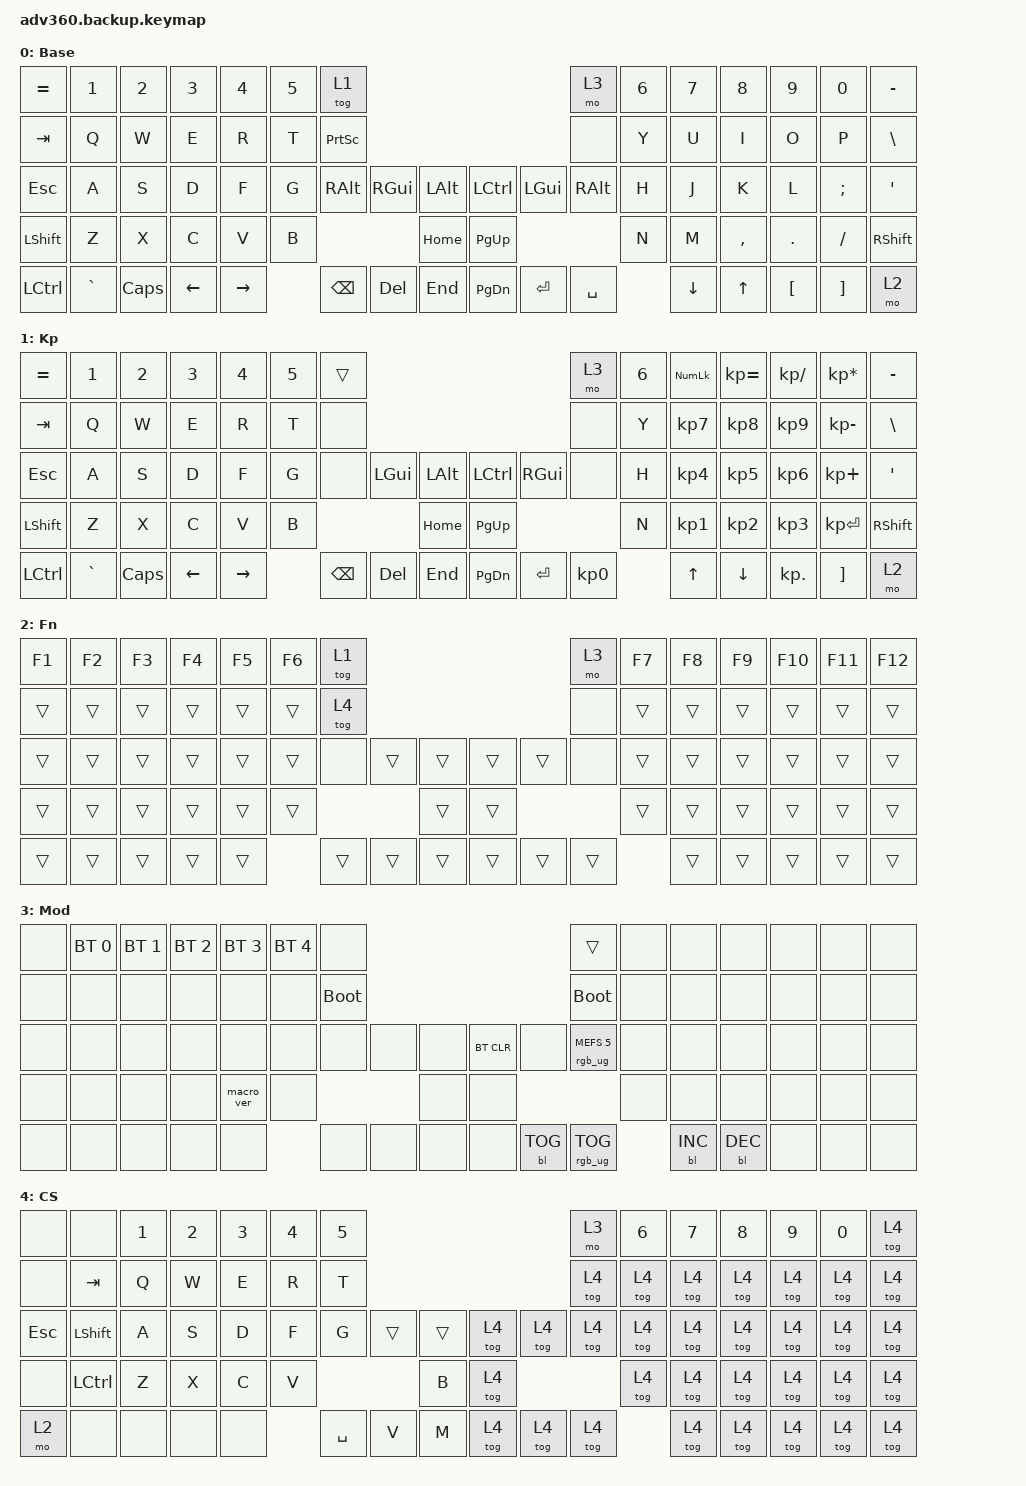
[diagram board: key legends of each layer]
#include <behaviors.dtsi>
#include <dt-bindings/zmk/keys.h>
#include <dt-bindings/zmk/bt.h>
#include <dt-bindings/zmk/rgb.h>
#include <dt-bindings/zmk/stp.h>
#include <dt-bindings/zmk/backlight.h>
#include <dt-bindings/zmk/pointing.h>

/ {
    behaviors {
        #include "macros.dtsi"
    #include "version.dtsi"

        hm: homerow_mods {
            compatible = "zmk,behavior-hold-tap";
            label = "HOMEROW_MODS";
            #binding-cells = <2>;
            tapping-term-ms = <200>;
            quick_tap_ms = <175>;
            flavor = "tap-preferred";
            bindings = <&kp>, <&kp>;
        };
    };

    keymap {
        compatible = "zmk,keymap";

        default_layer {
            display-name = "Base";
            bindings = <
&kp EQUAL         &kp N1     &kp N2    &kp N3    &kp N4     &kp N5  &tog 1                                                                        &mo 3      &kp N6  &kp N7    &kp N8     &kp N9    &kp N0    &kp MINUS
&kp TAB           &kp Q      &kp W     &kp E     &kp R      &kp T   &kp PRINTSCREEN                                                               &none      &kp Y   &kp U     &kp I      &kp O     &kp P     &kp BSLH
&kp ESC           &kp A      &kp S     &kp D     &kp F      &kp G   &kp RALT         &kp RIGHT_GUI  &kp LALT      &kp LEFT_CONTROL  &kp LEFT_GUI  &kp RALT   &kp H   &kp J     &kp K      &kp L     &kp SEMI  &kp SQT
&kp LSHFT         &kp Z      &kp X     &kp C     &kp V      &kp B                                   &kp HOME      &kp PG_UP                                  &kp N   &kp M     &kp COMMA  &kp DOT   &kp FSLH  &kp RSHFT
&kp LEFT_CONTROL  &kp GRAVE  &kp CAPS  &kp LEFT  &kp RIGHT          &kp BSPC         &kp DEL        &kp END       &kp PG_DN         &kp ENTER     &kp SPACE          &kp DOWN  &kp UP     &kp LBKT  &kp RBKT  &mo 2
            >;
        };

        layer_keypad {
            display-name = "Kp";
            bindings = <
&kp EQUAL         &kp N1     &kp N2    &kp N3    &kp N4     &kp N5  &trans                                                                 &mo 3      &kp N6  &kp KP_NUM  &kp KP_EQUAL  &kp KP_DIVIDE  &kp KP_MULTIPLY  &kp MINUS
&kp TAB           &kp Q      &kp W     &kp E     &kp R      &kp T   &none                                                                  &none      &kp Y   &kp KP_N7   &kp KP_N8     &kp KP_N9      &kp KP_MINUS     &kp BSLH
&kp ESC           &kp A      &kp S     &kp D     &kp F      &kp G   &none     &kp LEFT_GUI  &kp LALT      &kp LEFT_CONTROL  &kp RIGHT_GUI  &none      &kp H   &kp KP_N4   &kp KP_N5     &kp KP_N6      &kp KP_PLUS      &kp SQT
&kp LSHFT         &kp Z      &kp X     &kp C     &kp V      &kp B                           &kp HOME      &kp PG_UP                                   &kp N   &kp KP_N1   &kp KP_N2     &kp KP_N3      &kp KP_ENTER     &kp RSHFT
&kp LEFT_CONTROL  &kp GRAVE  &kp CAPS  &kp LEFT  &kp RIGHT          &kp BSPC  &kp DEL       &kp END       &kp PG_DN         &kp ENTER      &kp KP_N0          &kp UP      &kp DOWN      &kp KP_DOT     &kp RBKT         &mo 2
            >;
        };

        layer_fn {
            display-name = "Fn";
            bindings = <
&kp F1  &kp F2  &kp F3  &kp F4  &kp F5  &kp F6  &tog 1                                      &mo 3   &kp F7  &kp F8  &kp F9  &kp F10  &kp F11  &kp F12
&trans  &trans  &trans  &trans  &trans  &trans  &tog 4                                      &none   &trans  &trans  &trans  &trans   &trans   &trans
&trans  &trans  &trans  &trans  &trans  &trans  &none   &trans  &trans      &trans  &trans  &none   &trans  &trans  &trans  &trans   &trans   &trans
&trans  &trans  &trans  &trans  &trans  &trans                  &trans      &trans                  &trans  &trans  &trans  &trans   &trans   &trans
&trans  &trans  &trans  &trans  &trans          &trans  &trans  &trans      &trans  &trans  &trans          &trans  &trans  &trans   &trans   &trans
            >;
        };

        layer_mod {
            display-name = "Mod";
            bindings = <
&none  &bt BT_SEL 0  &bt BT_SEL 1  &bt BT_SEL 2  &bt BT_SEL 3  &bt BT_SEL 4  &none                                                  &trans                  &none  &none       &none       &none  &none  &none
&none  &none         &none         &none         &none         &none         &bootloader                                            &bootloader             &none  &none       &none       &none  &none  &none
&none  &none         &none         &none         &none         &none         &none        &none  &none      &bt BT_CLR  &none       &rgb_ug RGB_MEFS_CMD 5  &none  &none       &none       &none  &none  &none
&none  &none         &none         &none         &macro_ver    &none                             &none      &none                                           &none  &none       &none       &none  &none  &none
&none  &none         &none         &none         &none                       &none        &none  &none      &none       &bl BL_TOG  &rgb_ug RGB_TOG                &bl BL_INC  &bl BL_DEC  &none  &none  &none
            >;
        };

        layer_CS {
            display-name = "CS";
            bindings = <
&none    &none             &kp NUMBER_1  &kp NUMBER_2  &kp NUMBER_3  &kp NUMBER_4  &kp NUMBER_5                                      &mo 3   &kp NUMBER_6  &kp NUMBER_7  &kp NUMBER_8  &kp NUMBER_9  &kp NUMBER_0  &tog 4
&none    &kp TAB           &kp Q         &kp W         &kp E         &kp R         &kp T                                             &tog 4  &tog 4        &tog 4        &tog 4        &tog 4        &tog 4        &tog 4
&kp ESC  &kp LEFT_SHIFT    &kp A         &kp S         &kp D         &kp F         &kp G         &trans  &trans      &tog 4  &tog 4  &tog 4  &tog 4        &tog 4        &tog 4        &tog 4        &tog 4        &tog 4
&none    &kp LEFT_CONTROL  &kp Z         &kp X         &kp C         &kp V                               &kp B       &tog 4                  &tog 4        &tog 4        &tog 4        &tog 4        &tog 4        &tog 4
&mo 2    &none             &none         &none         &none                       &kp SPACE     &kp V   &kp M       &tog 4  &tog 4  &tog 4                &tog 4        &tog 4        &tog 4        &tog 4        &tog 4
            >;
        };
        extra1 { 
          display-name = "Red";    
          status = "reserved";
        };

        extra2 { 
          display-name = "Purple";    
          status = "reserved";
        };

        extra3 { 
          display-name = "Cyan";    
          status = "reserved";
        };

        extra4 { 
          display-name = "Yellow";    
          status = "reserved";
        };
    };
};
